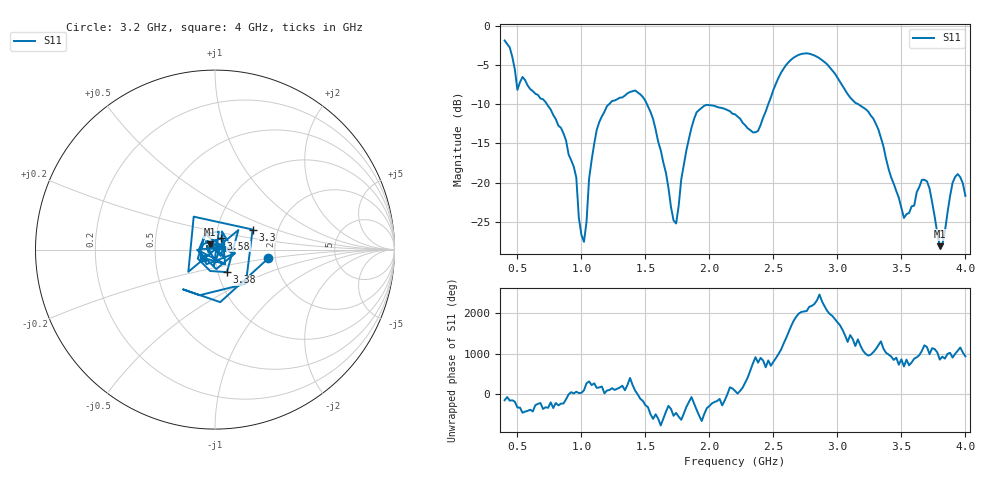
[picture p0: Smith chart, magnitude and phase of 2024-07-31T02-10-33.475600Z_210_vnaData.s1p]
!Created with skrf (http://scikit-rf.org).
# Hz S RI R 50.0
!freq ReS11 ImS11
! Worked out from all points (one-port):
!   181 points, 400 MHz to 4 GHz, reference 50 ohm
!   lowest |S11| = -28.1 dB at 3.8 GHz (marker M1), VSWR 1.08, Z = 47.4 + j2.77 ohm
!   |S11| at or under -10 dB: 730.8 MHz to 1.216 GHz (485.6 MHz wide, 49.9 % of centre); 1.512 GHz to 2.46 GHz (948 MHz wide, 47.7 % of centre); 3.163 GHz to end of sweep
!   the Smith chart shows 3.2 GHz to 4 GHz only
!   S11 on the Smith chart (normalised r, x): 3.2 GHz: 1.83, -0.19; 3.3 GHz: 1.48, +0.35; 3.38 GHz: 1.10, -0.28; 3.58 GHz: 1.06, +0.13; 4 GHz: 0.87, -0.08
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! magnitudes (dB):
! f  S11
! 400 MHz  -1.9
! 500 MHz  -8.2
! 540 MHz  -6.5
! 860 MHz  -13.7
! 960 MHz  -19.3
! 980 MHz  -24.5
! 1.02 GHz  -27.5
! 1.06 GHz  -19.5
! 1.12 GHz  -13.3
! 1.3 GHz  -9.2
! 1.5 GHz  -9.6
! 1.72 GHz  -24.8
! 1.76 GHz  -22.9
! 1.9 GHz  -11.0
! 2.2 GHz  -11.3
! 2.38 GHz  -13.4
! 2.66 GHz  -4.1
! 2.86 GHz  -4.1
! 3.1 GHz  -9.2
! 3.2 GHz  -10.4
! 3.3 GHz  -12.5
! 3.38 GHz  -16.9
! 3.56 GHz  -23.9
! 3.58 GHz  -23.0
! 3.7 GHz  -19.8
! 3.8 GHz  -28.1
! 3.92 GHz  -19.3
! 4 GHz  -21.7
